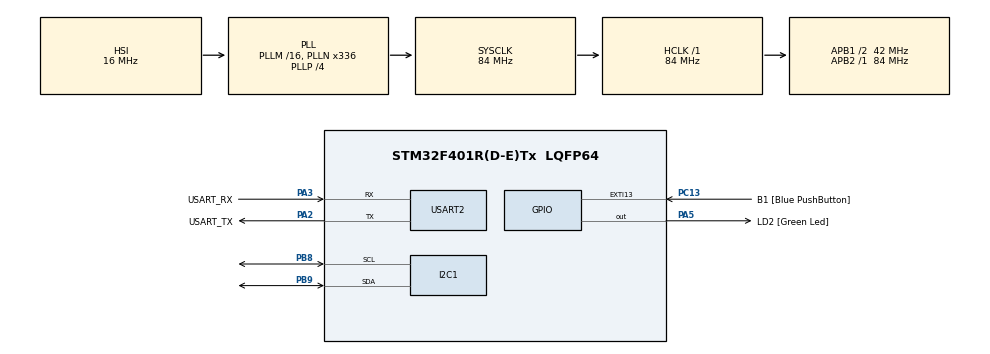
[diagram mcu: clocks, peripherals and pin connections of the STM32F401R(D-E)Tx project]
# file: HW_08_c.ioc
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Dma.I2C1_RX.1.Direction=DMA_PERIPH_TO_MEMORY
Dma.I2C1_RX.1.FIFOMode=DMA_FIFOMODE_DISABLE
Dma.I2C1_RX.1.Instance=DMA1_Stream0
Dma.I2C1_RX.1.MemDataAlignment=DMA_MDATAALIGN_BYTE
Dma.I2C1_RX.1.MemInc=DMA_MINC_ENABLE
Dma.I2C1_RX.1.Mode=DMA_NORMAL
Dma.I2C1_RX.1.PeriphDataAlignment=DMA_PDATAALIGN_BYTE
Dma.I2C1_RX.1.PeriphInc=DMA_PINC_DISABLE
Dma.I2C1_RX.1.Priority=DMA_PRIORITY_LOW
Dma.I2C1_TX.2.Direction=DMA_MEMORY_TO_PERIPH
Dma.I2C1_TX.2.FIFOMode=DMA_FIFOMODE_DISABLE
Dma.I2C1_TX.2.Instance=DMA1_Stream7
Dma.I2C1_TX.2.MemDataAlignment=DMA_MDATAALIGN_BYTE
Dma.I2C1_TX.2.MemInc=DMA_MINC_ENABLE
Dma.I2C1_TX.2.Mode=DMA_NORMAL
Dma.I2C1_TX.2.PeriphDataAlignment=DMA_PDATAALIGN_BYTE
Dma.I2C1_TX.2.PeriphInc=DMA_PINC_DISABLE
Dma.I2C1_TX.2.Priority=DMA_PRIORITY_LOW
Dma.Request0=USART2_TX
Dma.Request1=I2C1_RX
Dma.Request2=I2C1_TX
Dma.USART2_TX.0.Direction=DMA_MEMORY_TO_PERIPH
Dma.USART2_TX.0.FIFOMode=DMA_FIFOMODE_DISABLE
Dma.USART2_TX.0.Instance=DMA1_Stream6
Dma.USART2_TX.0.MemDataAlignment=DMA_MDATAALIGN_BYTE
Dma.USART2_TX.0.MemInc=DMA_MINC_ENABLE
Dma.USART2_TX.0.Mode=DMA_NORMAL
Dma.USART2_TX.0.PeriphDataAlignment=DMA_PDATAALIGN_BYTE
Dma.USART2_TX.0.PeriphInc=DMA_PINC_DISABLE
Dma.USART2_TX.0.Priority=DMA_PRIORITY_LOW
I2C1.I2C_Mode=I2C_Standard
Mcu.Family=STM32F4
Mcu.Name=STM32F401R(D-E)Tx
Mcu.Package=LQFP64
NVIC.DMA1_Stream0_IRQn=true\:0\:0\:false\:false\:true\:false\:true\:true
NVIC.DMA1_Stream6_IRQn=true\:0\:0\:false\:false\:true\:false\:true\:true
NVIC.DMA1_Stream7_IRQn=true\:0\:0\:false\:false\:true\:false\:true\:true
NVIC.I2C1_EV_IRQn=true\:0\:0\:false\:false\:true\:true\:true\:true
NVIC.PriorityGroup=NVIC_PRIORITYGROUP_0
NVIC.TIM2_IRQn=true\:0\:0\:false\:false\:true\:true\:true\:true
NVIC.USART2_IRQn=true\:0\:0\:false\:false\:true\:true\:true\:true
PA13.GPIO_Label=TMS
PA13.Mode=Serial_Wire
PA13.Signal=SYS_JTMS-SWDIO
PA14.GPIO_Label=TCK
PA14.Mode=Serial_Wire
PA14.Signal=SYS_JTCK-SWCLK
PA2.GPIO_Label=USART_TX
PA2.GPIO_Mode=GPIO_MODE_AF_PP
PA2.GPIO_PuPd=GPIO_NOPULL
PA2.GPIO_Speed=GPIO_SPEED_FREQ_LOW
PA2.Mode=Asynchronous
PA2.Signal=USART2_TX
PA3.GPIO_Label=USART_RX
PA3.GPIO_Mode=GPIO_MODE_AF_PP
PA3.GPIO_PuPd=GPIO_NOPULL
PA3.GPIO_Speed=GPIO_SPEED_FREQ_LOW
PA3.Mode=Asynchronous
PA3.Signal=USART2_RX
PA5.GPIO_Label=LD2 [Green Led]
PA5.GPIO_Mode=GPIO_MODE_OUTPUT_PP
PA5.GPIO_PuPd=GPIO_NOPULL
PA5.GPIO_Speed=GPIO_SPEED_FREQ_LOW
PA5.Signal=GPIO_Output
PB3.GPIO_Label=SWO
PB3.Signal=SYS_JTDO-SWO
PB8.Mode=I2C
PB8.Signal=I2C1_SCL
PB9.Mode=I2C
PB9.Signal=I2C1_SDA
PC13-ANTI_TAMP.GPIO_Label=B1 [Blue PushButton]
PC13-ANTI_TAMP.GPIO_ModeDefaultEXTI=GPIO_MODE_IT_FALLING
PC13-ANTI_TAMP.GPIO_PuPd=GPIO_NOPULL
PC13-ANTI_TAMP.Signal=GPXTI13
PC14-OSC32_IN.Mode=LSE-External-Oscillator
PC14-OSC32_IN.Signal=RCC_OSC32_IN
PC15-OSC32_OUT.Mode=LSE-External-Oscillator
PC15-OSC32_OUT.Signal=RCC_OSC32_OUT
PH0\ -\ OSC_IN.Mode=HSE-External-Clock-Source
PH0\ -\ OSC_IN.Signal=RCC_OSC_IN
PH1\ -\ OSC_OUT.Mode=HSE-External-Clock-Source
PH1\ -\ OSC_OUT.Signal=RCC_OSC_OUT
ProjectManager.HeapSize=0x200
ProjectManager.StackSize=0x400
ProjectManager.TargetToolchain=STM32CubeIDE
RCC.48MHZClocksFreq_Value=48000000
RCC.AHBFreq_Value=84000000
RCC.APB1CLKDivider=RCC_HCLK_DIV2
RCC.APB1Freq_Value=42000000
RCC.APB1TimFreq_Value=84000000
RCC.APB2Freq_Value=84000000
RCC.APB2TimFreq_Value=84000000
RCC.CortexFreq_Value=84000000
RCC.HCLKFreq_Value=84000000
RCC.HSE_VALUE=8000000
RCC.HSI_VALUE=16000000
RCC.PLLN=336
RCC.PLLP=RCC_PLLP_DIV4
RCC.PLLQ=7
RCC.SYSCLKFreq_VALUE=84000000
RCC.SYSCLKSource=RCC_SYSCLKSOURCE_PLLCLK
RCC.VCOOutputFreq_Value=336000000
TIM2.Period=10000-1
TIM2.Prescaler=8400-1
USART2.VirtualMode=VM_ASYNC
VP_TIM2_VS_ClockSourceINT.Mode=Internal
board=NUCLEO-F401RE

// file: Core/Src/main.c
/* USER CODE BEGIN Header */
/**
  ******************************************************************************
  * @file           : main.c
  * @brief          : Main program body
  ******************************************************************************
  * @attention
  *
  * Copyright (c) 2024 STMicroelectronics.
  * All rights reserved.
  *
  * This software is licensed under terms that can be found in the LICENSE file
  * in the root directory of this software component.
  * If no LICENSE file comes with this software, it is provided AS-IS.
  *
  ******************************************************************************
  */
/* USER CODE END Header */
#include "main.h"

/* USER CODE BEGIN PD */
#define WRITE_PORT(x) (x << 1) //left shift
#define READ_PORT(x) ((x << 1) | 1) //left shift and add 1 with the or operator
#define MSB 0x80 // 1000'0000
/* USER CODE END PD */

I2C_HandleTypeDef hi2c1;
DMA_HandleTypeDef hdma_i2c1_rx;
DMA_HandleTypeDef hdma_i2c1_tx;

TIM_HandleTypeDef htim2;

UART_HandleTypeDef huart2;
DMA_HandleTypeDef hdma_usart2_tx;

/* USER CODE BEGIN PV */
uint16_t acc_address = 0x28;
uint32_t cnt = 0;

int8_t data[5]; // 0x2D - 0x29 = 5 are the bytes to read

uint8_t CTRL_REG1[] = {0x20, 0b00010111};//set the power mode
uint8_t CTRL_REG2[] = {0x21, 0b00000000};//high pass filter normal mode
uint8_t CTRL_REG4[] = {0x23, 0b00000000};//full scale selection: [-2g,2g]

/* USER CODE END PV */

void SystemClock_Config(void);
static void MX_GPIO_Init(void);
static void MX_DMA_Init(void);
static void MX_USART2_UART_Init(void);
static void MX_I2C1_Init(void);
static void MX_TIM2_Init(void);

/* USER CODE BEGIN 0 */
void HAL_I2C_MasterTxCpltCallback(I2C_HandleTypeDef *hi2c) { //second step: the callback about the Transmit for receiving data that just stores them in the array data[]
	HAL_I2C_Master_Receive_DMA(&hi2c1, READ_PORT(acc_address), &data, sizeof(data));
}

void HAL_I2C_MasterRxCpltCallback(I2C_HandleTypeDef *hi2c) { //third step: a callback for the Receiving that converts them and sends using the UART interface in DMA mode
	float x, y, z;
	x = data[0]/64.0f;
	y = data[2]/64.0f;
	z = data[4]/64.0f;

	char str[64];
	int len = snprintf(str, 64, "%d: Accelerations: x:%+.2f g y:%+.2f g z:%+.2f g \r\n", cnt, x, y, z);
	cnt++;

	if( HAL_UART_GetState(&huart2)==HAL_UART_STATE_READY ){
	  HAL_UART_Transmit_DMA(&huart2, str, len);
  }
}

void HAL_TIM_PeriodElapsedCallback(TIM_HandleTypeDef *htim) { //first step: we have the timer callback that is the one that triggers the Transmit on the accelerometer where we’re writing the first register to read
	if (htim->Instance == TIM2) {
		int8_t reg = 0x29 | MSB; //add 1 in the MSB to enable the auto-increment
		HAL_StatusTypeDef status;

		HAL_I2C_Master_Transmit_DMA(&hi2c1, WRITE_PORT(0x28), &reg, 1);
	}
}
/* USER CODE END 0 */

int main(void)
{

  /* MCU Configuration--------------------------------------------------------*/

  /* Reset of all peripherals, Initializes the Flash interface and the Systick. */
  HAL_Init();

  /* Configure the system clock */
  SystemClock_Config();

  /* Initialize all configured peripherals */
  MX_GPIO_Init();
  MX_DMA_Init();
  MX_USART2_UART_Init();
  MX_I2C1_Init();
  MX_TIM2_Init();
  /* USER CODE BEGIN 2 */

  if(HAL_I2C_Master_Transmit(&hi2c1, WRITE_PORT(acc_address), CTRL_REG1, 2, 10) != HAL_OK) {
   acc_address = 0x18;
   	   if(HAL_I2C_Master_Transmit(&hi2c1, WRITE_PORT(acc_address), CTRL_REG1, 2, 10) != HAL_OK){
   		   //err
   	   }
  }

   HAL_I2C_Master_Transmit(&hi2c1, WRITE_PORT(acc_address), CTRL_REG2, 2, 10);
   HAL_I2C_Master_Transmit(&hi2c1, WRITE_PORT(acc_address), CTRL_REG4, 2, 10);

   HAL_TIM_Base_Start_IT(&htim2);

  /* USER CODE END 2 */

  /* Infinite loop */
  while (1)
  {

  }
}

void SystemClock_Config(void)
{
  RCC_OscInitTypeDef RCC_OscInitStruct = {0};
  RCC_ClkInitTypeDef RCC_ClkInitStruct = {0};

  /** Configure the main internal regulator output voltage
  */
  __HAL_RCC_PWR_CLK_ENABLE();
  __HAL_PWR_VOLTAGESCALING_CONFIG(PWR_REGULATOR_VOLTAGE_SCALE2);

  /** Initializes the RCC Oscillators according to the specified parameters
  * in the RCC_OscInitTypeDef structure.
  */
  RCC_OscInitStruct.OscillatorType = RCC_OSCILLATORTYPE_HSI;
  RCC_OscInitStruct.HSIState = RCC_HSI_ON;
  RCC_OscInitStruct.HSICalibrationValue = RCC_HSICALIBRATION_DEFAULT;
  RCC_OscInitStruct.PLL.PLLState = RCC_PLL_ON;
  RCC_OscInitStruct.PLL.PLLSource = RCC_PLLSOURCE_HSI;
  RCC_OscInitStruct.PLL.PLLM = 16;
  RCC_OscInitStruct.PLL.PLLN = 336;
  RCC_OscInitStruct.PLL.PLLP = RCC_PLLP_DIV4;
  RCC_OscInitStruct.PLL.PLLQ = 7;
  if (HAL_RCC_OscConfig(&RCC_OscInitStruct) != HAL_OK)
  {
    Error_Handler();
  }

  /** Initializes the CPU, AHB and APB buses clocks
  */
  RCC_ClkInitStruct.ClockType = RCC_CLOCKTYPE_HCLK|RCC_CLOCKTYPE_SYSCLK
                              |RCC_CLOCKTYPE_PCLK1|RCC_CLOCKTYPE_PCLK2;
  RCC_ClkInitStruct.SYSCLKSource = RCC_SYSCLKSOURCE_PLLCLK;
  RCC_ClkInitStruct.AHBCLKDivider = RCC_SYSCLK_DIV1;
  RCC_ClkInitStruct.APB1CLKDivider = RCC_HCLK_DIV2;
  RCC_ClkInitStruct.APB2CLKDivider = RCC_HCLK_DIV1;

  if (HAL_RCC_ClockConfig(&RCC_ClkInitStruct, FLASH_LATENCY_2) != HAL_OK)
  {
    Error_Handler();
  }
}

static void MX_I2C1_Init(void)
{

  hi2c1.Instance = I2C1;
  hi2c1.Init.ClockSpeed = 100000;
  hi2c1.Init.DutyCycle = I2C_DUTYCYCLE_2;
  hi2c1.Init.OwnAddress1 = 0;
  hi2c1.Init.AddressingMode = I2C_ADDRESSINGMODE_7BIT;
  hi2c1.Init.DualAddressMode = I2C_DUALADDRESS_DISABLE;
  hi2c1.Init.OwnAddress2 = 0;
  hi2c1.Init.GeneralCallMode = I2C_GENERALCALL_DISABLE;
  hi2c1.Init.NoStretchMode = I2C_NOSTRETCH_DISABLE;
  if (HAL_I2C_Init(&hi2c1) != HAL_OK)
  {
    Error_Handler();
  }

}

static void MX_TIM2_Init(void)
{

  TIM_ClockConfigTypeDef sClockSourceConfig = {0};
  TIM_MasterConfigTypeDef sMasterConfig = {0};

  htim2.Instance = TIM2;
  htim2.Init.Prescaler = 8400-1;
  htim2.Init.CounterMode = TIM_COUNTERMODE_UP;
  htim2.Init.Period = 10000-1;
  htim2.Init.ClockDivision = TIM_CLOCKDIVISION_DIV1;
  htim2.Init.AutoReloadPreload = TIM_AUTORELOAD_PRELOAD_DISABLE;
  if (HAL_TIM_Base_Init(&htim2) != HAL_OK)
  {
    Error_Handler();
  }
  sClockSourceConfig.ClockSource = TIM_CLOCKSOURCE_INTERNAL;
  if (HAL_TIM_ConfigClockSource(&htim2, &sClockSourceConfig) != HAL_OK)
  {
    Error_Handler();
  }
  sMasterConfig.MasterOutputTrigger = TIM_TRGO_RESET;
  sMasterConfig.MasterSlaveMode = TIM_MASTERSLAVEMODE_DISABLE;
  if (HAL_TIMEx_MasterConfigSynchronization(&htim2, &sMasterConfig) != HAL_OK)
  {
    Error_Handler();
  }

}

static void MX_USART2_UART_Init(void)
{

  huart2.Instance = USART2;
  huart2.Init.BaudRate = 115200;
  huart2.Init.WordLength = UART_WORDLENGTH_8B;
  huart2.Init.StopBits = UART_STOPBITS_1;
  huart2.Init.Parity = UART_PARITY_NONE;
  huart2.Init.Mode = UART_MODE_TX_RX;
  huart2.Init.HwFlowCtl = UART_HWCONTROL_NONE;
  huart2.Init.OverSampling = UART_OVERSAMPLING_16;
  if (HAL_UART_Init(&huart2) != HAL_OK)
  {
    Error_Handler();
  }

}

static void MX_DMA_Init(void)
{

  /* DMA controller clock enable */
  __HAL_RCC_DMA1_CLK_ENABLE();

  /* DMA interrupt init */
  /* DMA1_Stream0_IRQn interrupt configuration */
  HAL_NVIC_SetPriority(DMA1_Stream0_IRQn, 0, 0);
  HAL_NVIC_EnableIRQ(DMA1_Stream0_IRQn);
  /* DMA1_Stream6_IRQn interrupt configuration */
  HAL_NVIC_SetPriority(DMA1_Stream6_IRQn, 0, 0);
  HAL_NVIC_EnableIRQ(DMA1_Stream6_IRQn);
  /* DMA1_Stream7_IRQn interrupt configuration */
  HAL_NVIC_SetPriority(DMA1_Stream7_IRQn, 0, 0);
  HAL_NVIC_EnableIRQ(DMA1_Stream7_IRQn);

}

static void MX_GPIO_Init(void)
{
  GPIO_InitTypeDef GPIO_InitStruct = {0};

  /* GPIO Ports Clock Enable */
  __HAL_RCC_GPIOC_CLK_ENABLE();
  __HAL_RCC_GPIOH_CLK_ENABLE();
  __HAL_RCC_GPIOA_CLK_ENABLE();
  __HAL_RCC_GPIOB_CLK_ENABLE();

  /*Configure GPIO pin Output Level */
  HAL_GPIO_WritePin(LD2_GPIO_Port, LD2_Pin, GPIO_PIN_RESET);

  /*Configure GPIO pin : B1_Pin */
  GPIO_InitStruct.Pin = B1_Pin;
  GPIO_InitStruct.Mode = GPIO_MODE_IT_FALLING;
  GPIO_InitStruct.Pull = GPIO_NOPULL;
  HAL_GPIO_Init(B1_GPIO_Port, &GPIO_InitStruct);

  /*Configure GPIO pin : LD2_Pin */
  GPIO_InitStruct.Pin = LD2_Pin;
  GPIO_InitStruct.Mode = GPIO_MODE_OUTPUT_PP;
  GPIO_InitStruct.Pull = GPIO_NOPULL;
  GPIO_InitStruct.Speed = GPIO_SPEED_FREQ_LOW;
  HAL_GPIO_Init(LD2_GPIO_Port, &GPIO_InitStruct);

}

void Error_Handler(void)
{
  __disable_irq();
  while (1)
  {
  }
}
